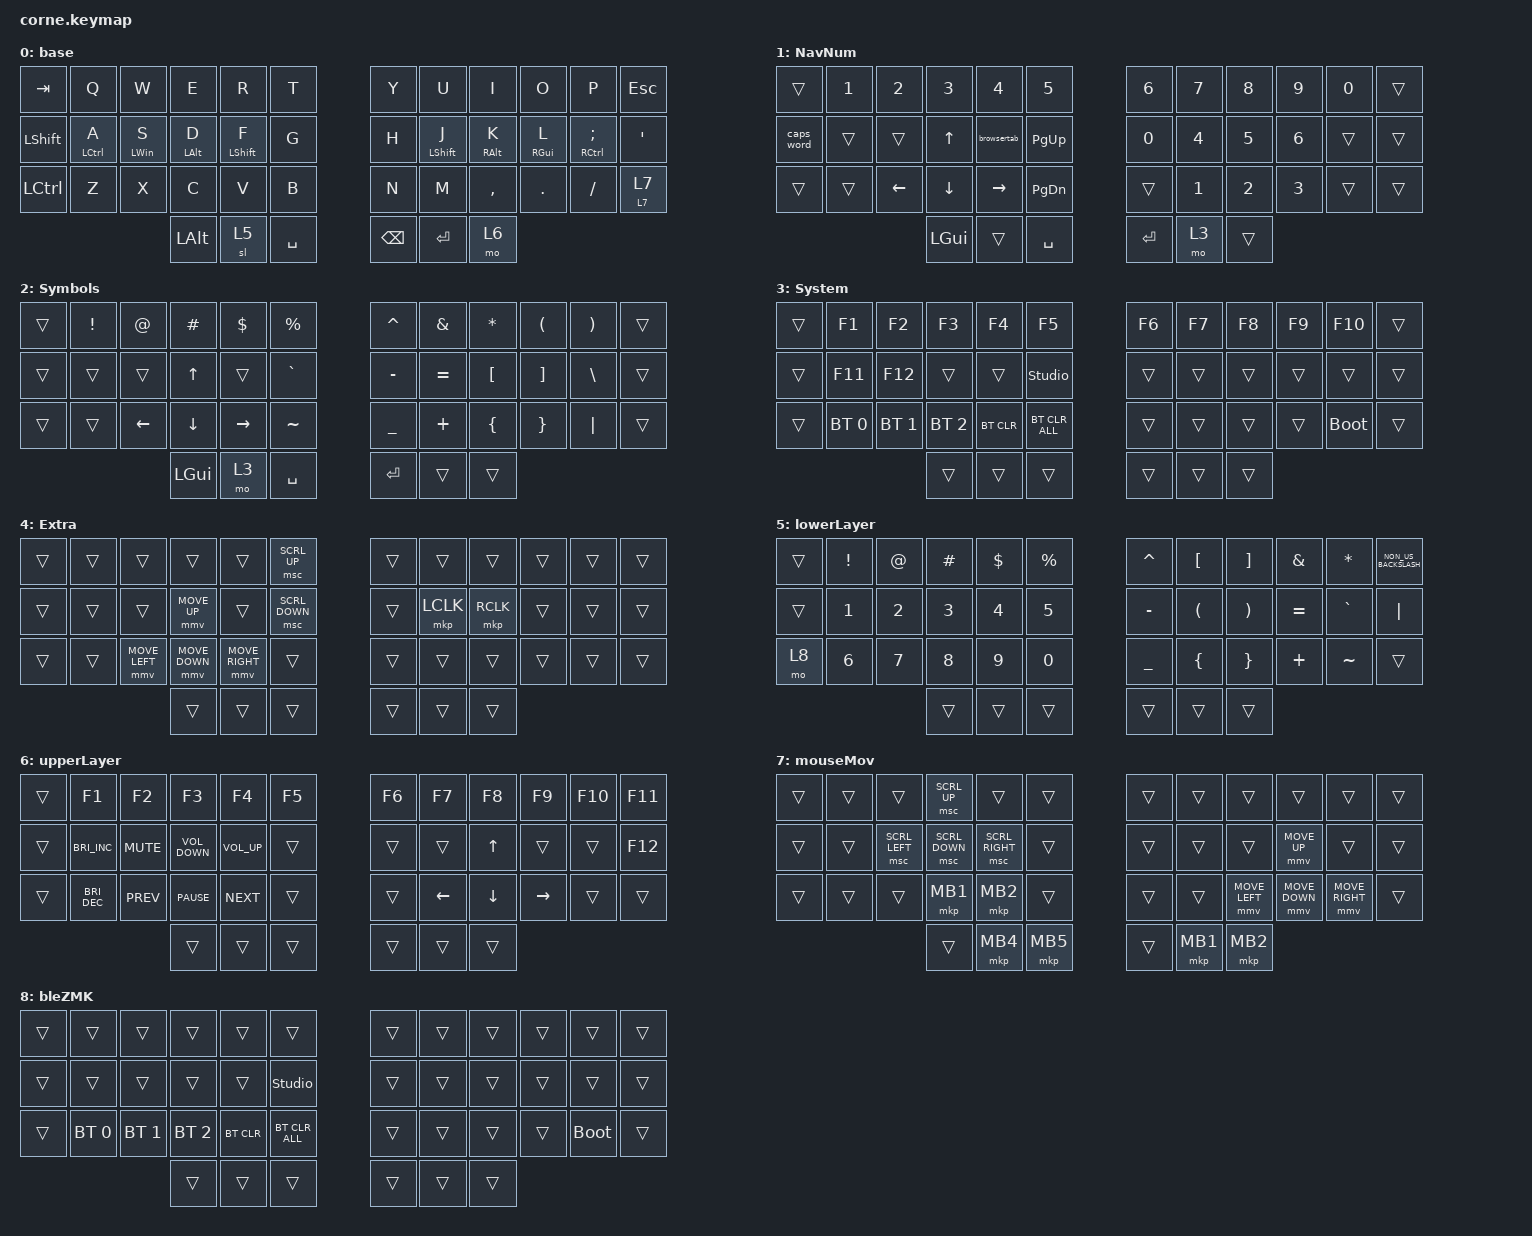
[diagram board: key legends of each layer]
#include <behaviors.dtsi>
#include <dt-bindings/zmk/bt.h>
#include <dt-bindings/zmk/keys.h>
#include <dt-bindings/zmk/pointing.h>

#define DEF 0
#define NAV 1
#define SYM 2
#define ADJ 3
#define EXTRA 4

/ {
    behaviors {
        hmr: homerow_mods {
            compatible = "zmk,behavior-hold-tap";
            #binding-cells = <2>;
            tapping-term-ms = <300>;
            flavor = "tap-preferred";
            bindings = <&kp>, <&kp>;

            quick-tap-ms = <300>;
            require-prior-idle-ms = <300>; /* tune to taste */
            label = "hmr";
        };

        para: para {
            compatible = "zmk,behavior-tap-dance";
            #binding-cells = <0>;
            bindings = <&kp LEFT_PARENTHESIS>, <&kp RIGHT_PARENTHESIS>;
        };

        caps: caps {
            compatible = "zmk,behavior-caps-word";
            #binding-cells = <0>;
            continue-list = <MINUS BACKSPACE>;
        };

        paraless: paraless {
            compatible = "zmk,behavior-mod-morph";
            bindings = <&kp LEFT_PARENTHESIS>, <&kp LESS_THAN>;

            #binding-cells = <0>;
            mods = <(MOD_LSFT)>;
        };

        paragreat: paragreat {
            compatible = "zmk,behavior-mod-morph";
            bindings = <&kp RIGHT_PARENTHESIS>, <&kp GREATER_THAN>;

            #binding-cells = <0>;
            mods = <(MOD_LSFT)>;
        };

        mouseEmulHoldTog: mouseEmulHoldTog {
            compatible = "zmk,behavior-hold-tap";
            label = "MOUSEEMULHOLDTOG";
            bindings = <&mo>, <&tog>;

            #binding-cells = <2>;
            tapping-term-ms = <300>;
            quick-tap-ms = <300>;
            require-prior-idle-ms = <300>;
        };
    };

    macros {
        browsertab: browsertab {
            compatible = "zmk,behavior-macro";
            #binding-cells = <0>;
            bindings =
                <&macro_press>,
                <&kp LCTRL>,
                <&macro_tap>,
                <&kp TAB>,
                <&macro_release>,
                <&kp LCTRL>;
        };
    };

    combos {
        compatible = "zmk,combos";

        escape {
            bindings = <&kp ESCAPE>;
            key-positions = <3 4>;
        };

        delete {
            bindings = <&kp DELETE>;
            key-positions = <2 1>;
        };

        perc {
            bindings = <&kp PERCENT>;
            key-positions = <5 17>;
            layers = <0>;
        };

        equal {
            bindings = <&kp EQUAL>;
            key-positions = <28 16>;
            layers = <0>;
        };

        dollar {
            bindings = <&kp DOLLAR>;
            key-positions = <4 16>;
            layers = <0>;
        };

        pound {
            bindings = <&kp POUND>;
            key-positions = <3 15>;
            layers = <0>;
        };

        at {
            bindings = <&kp AT>;
            key-positions = <2 14>;
            layers = <0>;
        };

        backslash {
            bindings = <&kp BACKSLASH>;
            key-positions = <26 14>;
            layers = <0>;
        };

        star {
            bindings = <&kp STAR>;
            key-positions = <8 20>;
            layers = <0>;
        };

        slash {
            bindings = <&kp SLASH>;
            key-positions = <32 20>;
            layers = <0>;
        };

        plus {
            bindings = <&kp PLUS>;
            key-positions = <7 19>;
            layers = <0>;
        };

        minus {
            bindings = <&kp KP_MINUS>;
            key-positions = <31 19>;
            layers = <0>;
        };

        underscore {
            bindings = <&kp UNDER>;
            key-positions = <30 18>;
            layers = <0>;
        };

        leftbrack {
            bindings = <&kp LEFT_BRACKET>;
            key-positions = <31 32>;
            layers = <0>;
        };

        rightbrack {
            bindings = <&kp RIGHT_BRACKET>;
            key-positions = <33 32>;
            layers = <0>;
        };

        para-less {
            bindings = <&paraless>;
            key-positions = <20 19>;
            layers = <0>;
        };

        para-great {
            bindings = <&paragreat>;
            key-positions = <20 21>;
            layers = <0>;
        };

        brace-less {
            bindings = <&kp LEFT_BRACE>;
            key-positions = <7 8>;
        };

        brace-great {
            bindings = <&kp RIGHT_BRACE>;
            key-positions = <8 9>;
        };

        stickLShift {
            bindings = <&sk LSHFT>;
            key-positions = <14 15 16>;
        };

        minus_left {
            bindings = <&kp MINUS>;
            key-positions = <15 16>;
        };

        underscore_left {
            bindings = <&kp UNDER>;
            key-positions = <27 28>;
        };
    };

    //

    keymap {
        compatible = "zmk,keymap";

        DEF {
            display-name = "base";

            // -----------------------------------------------------------------------------------------
            // |  Q  |  W  |  E  |  R  |  T  |   |  Y  |  U   |  I  |  O  |  P  |
            // |  A  |  S  |  D  |  F  |  G  |   |  H  |  J   |  K  |  L  |  ;  |
            // |  Z  |  X  |  C  |  V  |  B  |   |  N  |  M   |  ,  |  .  |  /  |
            // | GUI | CTRL | SHFT | LWR | SPC |   | ENT | RSE  | BKSP | ALT | ESC |

            bindings = <
&kp TAB    &kp Q                &kp W            &kp E            &kp R         &kp T        &kp Y          &kp U              &kp I             &kp O             &kp P                 &kp ESC
&kp LSHFT  &hmr LEFT_CONTROL A  &hmr LEFT_WIN S  &hmr LEFT_ALT D  &hmr LSHFT F  &kp G        &kp H          &hmr LEFT_SHIFT J  &hmr RIGHT_ALT K  &hmr RIGHT_GUI L  &hmr RCTRL SEMICOLON  &kp SQT
&kp LCTRL  &kp Z                &kp X            &kp C            &kp V         &kp B        &kp N          &kp M              &kp COMMA         &kp DOT           &kp FSLH              &mouseEmulHoldTog 7 7
                                                 &kp LEFT_ALT     &sl 5         &kp SPACE    &kp BACKSPACE  &kp RET            &mo 6
            >;
        };

        NAVkeyhoarders {
            display-name = "NavNum";

            // -----------------------------------------------------------------------------------------
            // |  TAB |  1  |  2  |  3  |  4  |  5  |   |  6  |  7  |  8  |  9  |  0  | BKSP |
            // | BTCLR| BT1 | BT2 | BT3 | BT4 | BT5 |   | LFT | DWN |  UP | RGT |     |      |
            // | SHFT |     |     |     |     |     |   |     |     |     |     |     |      |
            // | GUI | CTRL | SHFT | LWR | SPC |   | ENT | RSE  | BKSP | ALT | ESC |

            bindings = <
&trans      &kp N1  &kp N2    &kp N3        &kp N4           &kp N5           &kp N6   &kp N7  &kp N8  &kp N9  &kp N0  &trans
&caps_word  &trans  &trans    &kp UP_ARROW  &browsertab      &kp PAGE_UP      &kp N0   &kp N4  &kp N5  &kp N6  &trans  &trans
&trans      &trans  &kp LEFT  &kp DOWN      &kp RIGHT_ARROW  &kp PAGE_DOWN    &trans   &kp N1  &kp N2  &kp N3  &trans  &trans
                              &kp LGUI      &trans           &kp SPACE        &kp RET  &mo 3   &trans
            >;
        };

        SYMkeyhoarders {
            display-name = "Symbols";

            // -----------------------------------------------------------------------------------------
            // |  TAB |  !  |  @  |  #  |  $  |  %  |   |  ^  |  &  |  *  |  (  |  )  | BKSP |
            // | CTRL |     |     |     |     |     |   |  -  |  =  |  [  |  ]  |  \  |  `   |
            // | SHFT |     |     |     |     |     |   |  _  |  +  |  {  |  }  | "|" |  ~   |
            //                    | GUI |     | SPC |   | ENT |     | ALT |

            bindings = <
&trans  &kp EXCL  &kp AT          &kp HASH        &kp DLLR         &kp PRCNT    &kp CARET  &kp AMPS   &kp ASTRK  &kp LEFT_PARENTHESIS  &kp RPAR  &trans
&trans  &trans    &trans          &kp UP_ARROW    &trans           &kp GRAVE    &kp MINUS  &kp EQUAL  &kp LBKT   &kp RBKT              &kp BSLH  &trans
&trans  &trans    &kp LEFT_ARROW  &kp DOWN_ARROW  &kp RIGHT_ARROW  &kp TILDE    &kp UNDER  &kp PLUS   &kp LBRC   &kp RBRC              &kp PIPE  &trans
                                  &kp LGUI        &mo 3            &kp SPACE    &kp RET    &trans     &trans
            >;
        };

        ADJkeyhoarders {
            display-name = "System";
            bindings = <
&trans  &kp F1        &kp F2        &kp F3        &kp F4      &kp F5            &kp F6  &kp F7  &kp F8  &kp F9  &kp F10      &trans
&trans  &kp F11       &kp F12       &trans        &trans      &studio_unlock    &trans  &trans  &trans  &trans  &trans       &trans
&trans  &bt BT_SEL 0  &bt BT_SEL 1  &bt BT_SEL 2  &bt BT_CLR  &bt BT_CLR_ALL    &trans  &trans  &trans  &trans  &bootloader  &trans
                                    &trans        &trans      &trans            &trans  &trans  &trans
            >;
        };

        EXTRAkeyhoarders {
            display-name = "Extra";
            bindings = <
&trans  &trans  &trans          &trans          &trans           &msc SCRL_UP      &trans  &trans     &trans     &trans  &trans  &trans
&trans  &trans  &trans          &mmv MOVE_UP    &trans           &msc SCRL_DOWN    &trans  &mkp LCLK  &mkp RCLK  &trans  &trans  &trans
&trans  &trans  &mmv MOVE_LEFT  &mmv MOVE_DOWN  &mmv MOVE_RIGHT  &trans            &trans  &trans     &trans     &trans  &trans  &trans
                                &trans          &trans           &trans            &trans  &trans     &trans
            >;
        };

        lowerlayer {
            bindings = <
&trans  &kp EXCLAMATION  &kp AT_SIGN   &kp HASH  &kp DOLLAR  &kp PERCENT    &kp CARET       &kp LEFT_BRACKET      &kp RIGHT_BRACKET      &kp AMPERSAND  &kp ASTERISK  &kp NON_US_BACKSLASH
&trans  &kp NUMBER_1     &kp NUMBER_2  &kp N3    &kp N4      &kp N5         &kp MINUS       &kp LEFT_PARENTHESIS  &kp RIGHT_PARENTHESIS  &kp EQUAL      &kp GRAVE     &kp PIPE
&mo 8   &kp N6           &kp N7        &kp N8    &kp N9      &kp N0         &kp UNDERSCORE  &kp LEFT_BRACE        &kp RIGHT_BRACE        &kp PLUS       &kp TILDE     &trans
                                       &trans    &trans      &trans         &trans          &trans                &trans
            >;

            label = "lowerLayer";
        };

        upperlayer {
            bindings = <
&trans  &kp F1                &kp F2      &kp F3             &kp F4        &kp F5    &kp F6  &kp F7    &kp F8    &kp F9     &kp F10  &kp F11
&trans  &kp C_BRIGHTNESS_INC  &kp C_MUTE  &kp C_VOLUME_DOWN  &kp C_VOL_UP  &trans    &trans  &trans    &kp UP    &trans     &trans   &kp F12
&trans  &kp C_BRIGHTNESS_DEC  &kp C_PREV  &kp C_PAUSE        &kp C_NEXT    &trans    &trans  &kp LEFT  &kp DOWN  &kp RIGHT  &trans   &trans
                                          &trans             &trans        &trans    &trans  &trans    &trans
            >;

            label = "upperLayer";
        };

        mouseMov {
            bindings = <
&trans  &trans  &trans          &msc SCRL_UP    &trans           &trans      &trans  &trans    &trans          &trans          &trans           &trans
&trans  &trans  &msc SCRL_LEFT  &msc SCRL_DOWN  &msc SCRL_RIGHT  &trans      &trans  &trans    &trans          &mmv MOVE_UP    &trans           &trans
&trans  &trans  &trans          &mkp MB1        &mkp MB2         &trans      &trans  &trans    &mmv MOVE_LEFT  &mmv MOVE_DOWN  &mmv MOVE_RIGHT  &trans
                                &trans          &mkp MB4         &mkp MB5    &trans  &mkp MB1  &mkp MB2
            >;

            label = "mouseMov";
        };

        bleZMK {
            display-name = "bleZMK";
            bindings = <
&trans  &trans        &trans        &trans        &trans      &trans            &trans  &trans  &trans  &trans  &trans       &trans
&trans  &trans        &trans        &trans        &trans      &studio_unlock    &trans  &trans  &trans  &trans  &trans       &trans
&trans  &bt BT_SEL 0  &bt BT_SEL 1  &bt BT_SEL 2  &bt BT_CLR  &bt BT_CLR_ALL    &trans  &trans  &trans  &trans  &bootloader  &trans
                                    &trans        &trans      &trans            &trans  &trans  &trans
            >;
        };
    };
};
